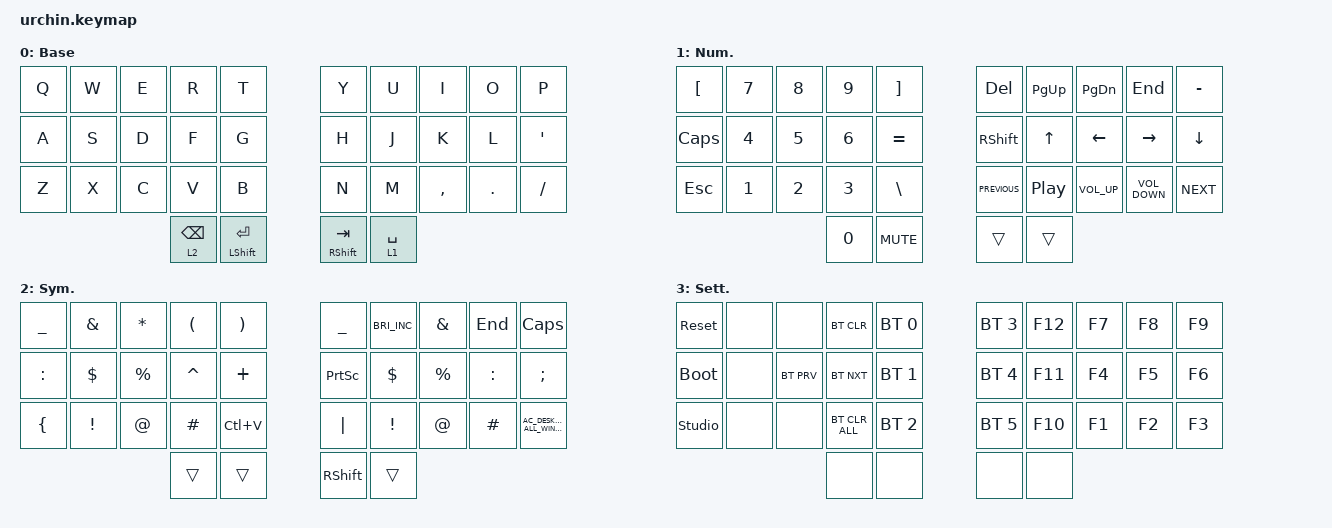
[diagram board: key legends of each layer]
/*
 * Copyright (c) 2020 duckyb
 *
 * SPDX-License-Identifier: MIT
 */

#include <behaviors.dtsi>
#include <dt-bindings/zmk/bt.h>
#include <dt-bindings/zmk/keys.h>
#include "keymap_italian.h"

// Layer definitions

#define BASE 0
#define SYM 1
#define EXT 2
#define FNC 3
#define SYM2 4
#define ACCENT 5
#define SETTINGS 6

// -----------------

&sk {
    // don't release mods on other mods presses

    ignore-modifiers;
};

/ {
    behaviors {
        // Enables holding the first mod-tap key
        // by performing a tap-release-hold sequence.
        // To use it: "&qt KEYCODE1 KEYCODE2"

        qt: quick_tap {
            compatible = "zmk,behavior-hold-tap";
            label = "QUICK_TAP";
            #binding-cells = <2>;
            flavor = "hold-preferred";
            tapping-term-ms = <200>;
            quick-tap-ms = <200>;
            bindings = <&kp>, <&kp>;
        };
    };

    macros {
        // sometimes my device thinks a modifier is being held down
        // pressing all modifiers fixes it.

        unstick: unstick {
            label = "ZM_unstick";
            compatible = "zmk,behavior-macro";
            #binding-cells = <0>;
            bindings = <&kp LSHIFT &kp RSHIFT &kp LCTRL &kp RCTRL &kp LALT &kp RALT &kp LGUI &kp RGUI>;
        };
    };

    combos {
        compatible = "zmk,combos";

        // both right thumb keys
        // internal-left & external-right thumb keys
        // both left thumb keys
        // left index & middle fingers (home-row)
        // hold control & space for Adobe workflow

        r_gui {
            bindings = <&kp RIGHT_GUI>;
            key-positions = <16 17>;
        };

        l_gui {
            bindings = <&kp LEFT_GUI>;
            key-positions = <13 12>;
        };

        r_ctrl {
            bindings = <&kp RCTRL>;
            key-positions = <6 7>;
        };

        r_alt {
            bindings = <&kp RIGHT_ALT>;
            key-positions = <26 27>;
        };

        l_ctrl {
            bindings = <&kp LCTRL>;
            key-positions = <3 2>;
        };

        l_alt {
            bindings = <&kp LEFT_ALT>;
            key-positions = <23 22>;
        };
    };

    keymap {
        compatible = "zmk,keymap";

        // Base alpha layer

        default_layer {
            label = "Base";
            bindings = <
&kp Q  &kp W  &kp E  &kp R            &kp T             &kp Y                &kp U        &kp I      &kp O    &kp P
&kp A  &kp S  &kp D  &kp F            &kp G             &kp H                &kp J        &kp K      &kp L    &kp SQT
&kp Z  &kp X  &kp C  &kp V            &kp B             &kp N                &kp M        &kp COMMA  &kp DOT  &kp SLASH
                     &lt 2 BACKSPACE  &qt LSHIFT ENTER  &mt RIGHT_SHIFT TAB  &lt 1 SPACE
            >;
        };

        // Numbers and high frequency symbols

        num_layer {
            label = "Num.";
            bindings = <
&kp LBKT  &kp N7        &kp NUMBER_8  &kp NUMBER_9  &kp RBKT    &kp DELETE      &kp PG_UP         &kp PAGE_DOWN    &kp END            &kp MINUS
&kp CAPS  &kp NUMBER_4  &kp N5        &kp NUMBER_6  &kp EQUAL   &kp RSHFT       &kp UP_ARROW      &kp LEFT_ARROW   &kp RIGHT          &kp DOWN
&kp ESC   &kp NUMBER_1  &kp NUMBER_2  &kp NUMBER_3  &kp BSLH    &kp C_PREVIOUS  &kp C_PLAY_PAUSE  &kp C_VOLUME_UP  &kp C_VOLUME_DOWN  &kp C_NEXT
                                      &kp N0        &kp C_MUTE  &trans          &trans
            >;
        };

        // Main modifiers and arrow keys

        sym_layer {
            label = "Sym.";
            bindings = <
&kp UNDER  &kp AMPS  &kp ASTRK    &kp LPAR   &kp RPAR   &kp UNDER        &kp C_BRIGHTNESS_INC  &kp AMPERSAND  &kp END    &kp CAPS
&kp COLON  &kp DLLR  &kp PRCNT    &kp CARET  &kp PLUS   &kp PRINTSCREEN  &kp DOLLAR            &kp PRCNT      &kp COLON  &kp SEMICOLON
&kp LBRC   &kp EXCL  &kp AT_SIGN  &kp HASH   &kp LC(V)  &kp PIPE         &kp EXCL              &kp AT         &kp HASH   &kp C_AC_DESKTOP_SHOW_ALL_WINDOWS
                                  &trans     &trans     &kp RSHIFT       &trans
            >;
        };

        // Function keys with modifiers
        // Low frequency symbols.
        // Used to type regional accents.
        // Used to change the keyboard's settings.

        tri_layer {
            label = "Sett.";
            bindings = <
&sys_reset      &none  &none       &bt BT_CLR      &bt BT_SEL 0  &bt BT_SEL 3  &kp F12  &kp F7  &kp F8  &kp F9
&bootloader     &none  &bt BT_PRV  &bt BT_NXT      &bt BT_SEL 1  &bt BT_SEL 4  &kp F11  &kp F4  &kp F5  &kp F6
&studio_unlock  &none  &none       &bt BT_CLR_ALL  &bt BT_SEL 2  &bt BT_SEL 5  &kp F10  &kp F1  &kp F2  &kp F3
                                   &none           &none         &none         &none
            >;
        };
    };

    conditional_layers {
        compatible = "zmk,conditional-layers";

        Tri {
            if-layers = <1 2>;
            then-layer = <3>;
        };
    };
};
